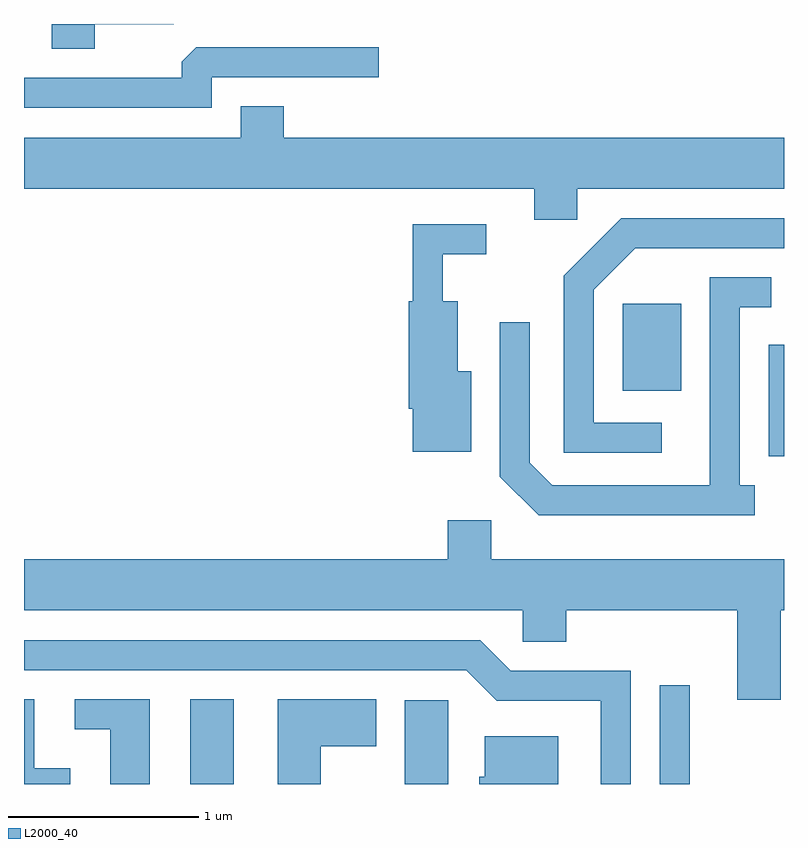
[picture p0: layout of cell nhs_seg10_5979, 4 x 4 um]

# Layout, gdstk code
import gdstk
lib = gdstk.Library(unit=1e-6, precision=1e-09)
def R(c, l, rs):  # rectangles x0, y0, x1, y1
    for r in rs: c.add(gdstk.rectangle(r[:2], r[2:], *l))
def P(c, l, *ps):  # polygons
    for p in ps: c.add(gdstk.Polygon(p, *l))
L2000_40 = (2000, 40)

nhs_seg10_5979 = lib.new_cell('nhs_seg10_5979')
R(nhs_seg10_5979, L2000_40, [(362.486,2148.522,362.714,2148.969), (363.616,2148.522,363.844,2148.964), (364.956,2148.522,365.114,2149.043), (365.531,2150.246,365.611,2150.833), (364.761,2150.591,365.069,2151.049)])
P(nhs_seg10_5979, L2000_40, [(361.984,2152.521),(362.399,2152.521),(362.4,2152.522),(361.756,2152.522),(361.756,2152.391),(361.984,2152.391)],
  [(362.599,2152.241),(363.478,2152.241),(363.478,2152.399),(362.517,2152.399),(362.441,2152.324),(362.441,2152.239),(361.611,2152.239),(361.611,2152.081),(362.599,2152.081)],
  [(364.524,2151.656),(365.611,2151.656),(365.611,2151.924),(362.979,2151.924),(362.979,2152.089),(362.751,2152.089),(362.751,2151.924),(361.611,2151.924),(361.611,2151.656),(364.296,2151.656),(364.296,2151.491),(364.524,2151.491)],
  [(364.968,2150.424),(364.609,2150.424),(364.609,2151.124),(364.827,2151.341),(365.611,2151.341),(365.611,2151.499),(364.754,2151.499),(364.451,2151.197),(364.451,2150.266),(364.968,2150.266)],
  [(363.964,2150.694),(363.894,2150.694),(363.894,2151.064),(363.814,2151.064),(363.814,2151.311),(364.043,2151.311),(364.043,2151.469),(363.656,2151.469),(363.656,2151.064),(363.636,2151.064),(363.636,2150.496),(363.656,2150.496),(363.656,2150.271),(363.964,2150.271)],
  [(365.458,2150.094),(365.379,2150.094),(365.379,2151.031),(365.543,2151.031),(365.543,2151.189),(365.221,2151.189),(365.221,2150.094),(364.392,2150.094),(364.274,2150.212),(364.274,2150.953),(364.116,2150.953),(364.116,2150.139),(364.319,2149.936),(365.458,2149.936)],
  [(365.594,2149.436),(365.611,2149.436),(365.611,2149.704),(364.069,2149.704),(364.069,2149.909),(363.841,2149.909),(363.841,2149.704),(361.611,2149.704),(361.611,2149.436),(364.236,2149.436),(364.236,2149.271),(364.464,2149.271),(364.464,2149.436),(365.366,2149.436),(365.366,2148.966),(365.594,2148.966)],
  [(364.804,2149.119),(364.172,2149.119),(364.012,2149.279),(361.611,2149.279),(361.611,2149.121),(363.939,2149.121),(364.099,2148.961),(364.646,2148.961),(364.646,2148.522),(364.804,2148.522)],
  [(362.274,2148.969),(361.878,2148.969),(361.878,2148.811),(362.066,2148.811),(362.066,2148.522),(362.274,2148.522)],
  [(361.854,2148.604),(361.664,2148.604),(361.664,2148.969),(361.611,2148.969),(361.611,2148.522),(361.854,2148.522)],
  [(363.174,2148.721),(363.464,2148.721),(363.464,2148.969),(362.946,2148.969),(362.946,2148.522),(363.174,2148.522)],
  [(364.424,2148.774),(364.036,2148.774),(364.036,2148.559),(364.006,2148.559),(364.006,2148.522),(364.424,2148.522)])

lib.write_gds('nhs_seg10_5979.gds')
